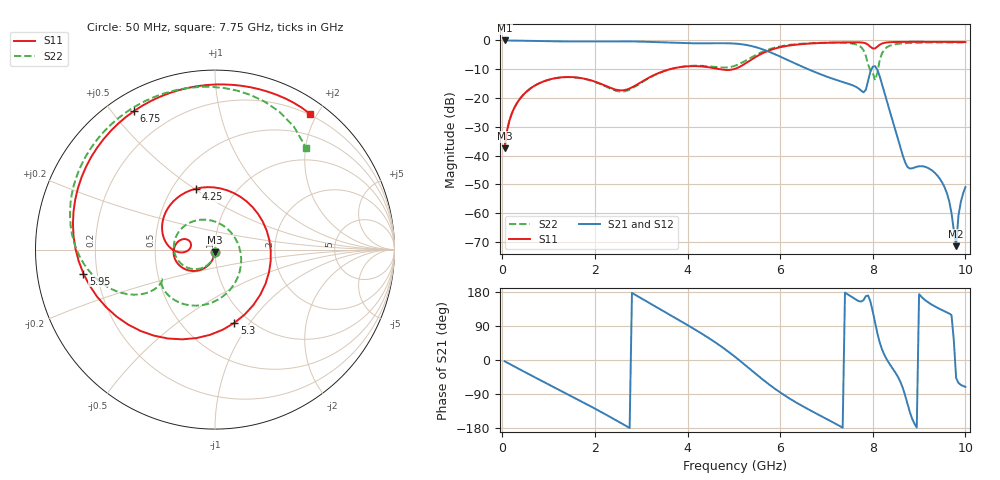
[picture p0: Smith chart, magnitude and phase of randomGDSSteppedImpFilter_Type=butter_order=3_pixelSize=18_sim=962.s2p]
! freq	dB(S11)	phase(S11)	dB(S12)	phase(S12)
!  dB(S21)	phase(S21)	dB(S22)	phase(S22)
!S-par simulation data
#  GHz  S  DB  R 50
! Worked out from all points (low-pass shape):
!   200 points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, 50 MHz to 10 GHz, reference 50 ohm
!   highest |S21| = -0.01 dB at 50 MHz (marker M1); lowest = -71.5 dB at 9.8 GHz (marker M2)
!   |S21| within 3 dB of the highest: start of sweep to 5.607 GHz
!   lowest |S11| = -37.5 dB at 50 MHz (marker M3), VSWR 1.03, Z = 49.9 - j1.33 ohm
!   |S11| at or under -10 dB: start of sweep to 3.621 GHz; 4.697 GHz to 4.995 GHz (297.5 MHz wide, 6.14 % of centre)
!   |S22| runs from -37.5 to -0.7 dB; largest |S21 - S12| = 0
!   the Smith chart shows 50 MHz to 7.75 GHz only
!   S11 on the Smith chart (normalised r, x): 50 MHz: 1.00, -0.03; 4.25 GHz: 0.65, +0.51; 5.3 GHz: 0.85, -0.85; 5.95 GHz: 0.15, -0.09; 6.75 GHz: 0.07, +0.57; 7.75 GHz: 0.19, +1.91
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0.05  -37.50 -92.6  -0.01 -3.3  -0.01 -3.3  -37.51 -93.0
0.2  -25.62 -102.4  -0.03 -13.2  -0.03 -13.2  -25.62 -103.8
0.55  -17.42 -124.4  -0.13 -35.9  -0.13 -35.9  -17.43 -128.2
1.75  -13.22 171.3  -0.35 -112.0  -0.35 -112.0  -13.27 144.2
2.6  -17.33 173.0  -0.29 -169.0  -0.29 -169.0  -17.77 28.1
3.4  -11.17 171.7  -0.65 134.6  -0.65 134.6  -11.26 -84.3
4.25  -8.98 107.6  -1.00 73.9  -1.00 73.9  -8.79 -139.2
5.05  -9.72 -22.9  -1.13 6.0  -1.13 6.0  -8.65 -147.4
5.3  -7.49 -75.2  -1.66 -19.0  -1.66 -19.0  -6.61 -148.2
5.95  -2.55 -169.7  -5.25 -81.3  -5.25 -81.3  -2.24 179.7
6.7  -1.01 123.9  -10.65 -136.1  -10.65 -136.1  -0.91 135.7
6.75  -0.97 120.3  -10.98 -139.4  -10.98 -139.4  -0.88 132.9
7.4  -0.67 77.6  -14.69 177.8  -14.69 177.8  -0.85 91.0
7.75  -0.70 54.9  -17.45 154.1  -17.45 154.1  -2.37 48.2
8.1  -2.14 49.1  -10.20 70.1  -10.20 70.1  -11.17 -136.1
8.2  -1.08 43.9  -15.19 27.9  -15.19 27.9  -4.44 154.2
8.35  -0.63 33.6  -23.62 -8.0  -23.62 -8.0  -1.96 115.8
8.75  -0.49 12.0  -43.99 -116.1  -43.99 -116.1  -0.91 75.2
9.55  -0.51 -23.7  -51.03 128.5  -51.03 128.5  -0.68 30.6
9.8  -0.54 -33.9  -71.50 -47.5  -71.50 -47.5  -0.68 18.8
9.85  -0.55 -35.9  -60.91 -60.3  -60.91 -60.3  -0.68 16.5
10  -0.57 -41.8  -50.96 -70.9  -50.96 -70.9  -0.69 9.7
